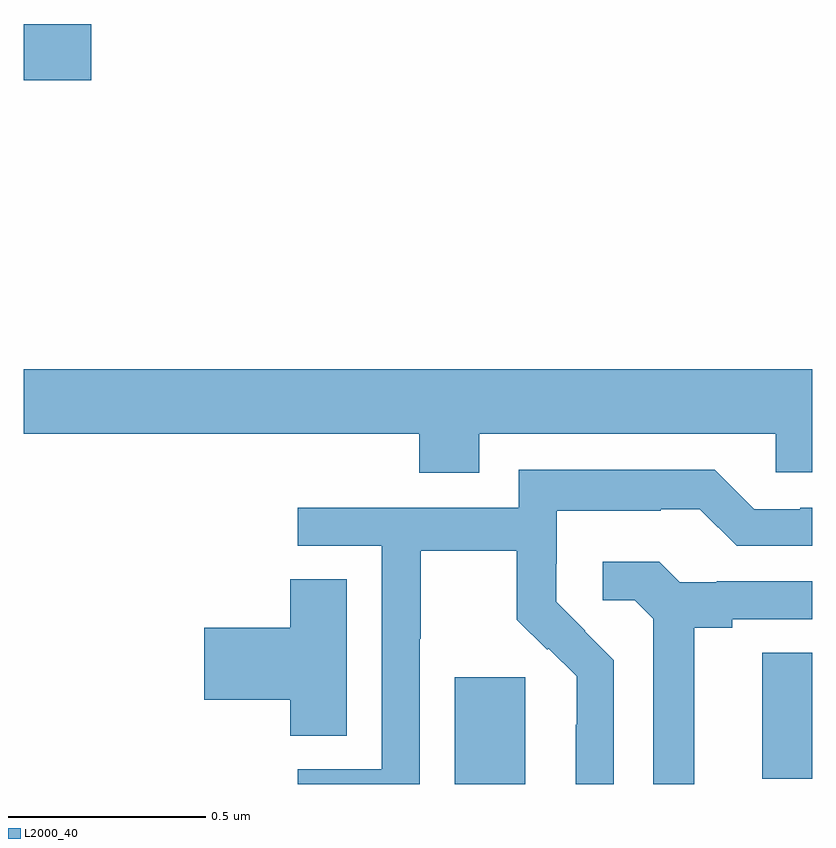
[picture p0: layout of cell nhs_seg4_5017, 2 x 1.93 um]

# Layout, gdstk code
import gdstk
lib = gdstk.Library(unit=1e-6, precision=1e-09)
def R(c, l, rs):  # rectangles x0, y0, x1, y1
    for r in rs: c.add(gdstk.rectangle(r[:2], r[2:], *l))
def P(c, l, *ps):  # polygons
    for p in ps: c.add(gdstk.Polygon(p, *l))
L2000_40 = (2000, 40)

nhs_seg4_5017 = lib.new_cell('nhs_seg4_5017')
R(nhs_seg4_5017, L2000_40, [(173.093,827.9,173.272,828.171), (173.873,827.913,174,828.233), (172,829.685,172.171,829.827)])
P(nhs_seg4_5017, L2000_40, [(173.155,828.788),(173.907,828.788),(173.907,828.69),(174,828.69),(174,828.952),(172,828.952),(172,828.788),(173.003,828.788),(173.003,828.689),(173.155,828.689)],
  [(173.004,828.268),(173.007,828.268),(173.007,828.492),(173.251,828.492),(173.251,828.317),(173.328,828.24),(173.331,828.243),(173.402,828.173),(173.402,828.05),(173.4,828.05),(173.4,827.9),(173.496,827.9),(173.496,828.214),(173.423,828.287),(173.424,828.288),(173.35,828.362),(173.35,828.459),(173.352,828.459),(173.352,828.593),(173.615,828.593),(173.615,828.597),(173.715,828.597),(173.808,828.504),(174,828.504),(174,828.6),(173.969,828.6),(173.969,828.597),(173.853,828.597),(173.753,828.697),(173.256,828.697),(173.256,828.6),(172.695,828.6),(172.695,828.504),(172.908,828.504),(172.908,827.937),(172.695,827.937),(172.695,827.9),(173.004,827.9)],
  [(173.701,828.296),(173.797,828.296),(173.797,828.318),(174,828.318),(174,828.414),(173.758,828.414),(173.758,828.411),(173.664,828.411),(173.612,828.463),(173.469,828.463),(173.469,828.366),(173.55,828.366),(173.597,828.319),(173.597,827.9),(173.701,827.9)],
  [(172.819,828.419),(172.676,828.419),(172.676,828.296),(172.458,828.296),(172.458,828.113),(172.676,828.113),(172.676,828.022),(172.819,828.022)])

lib.write_gds('nhs_seg4_5017.gds')
